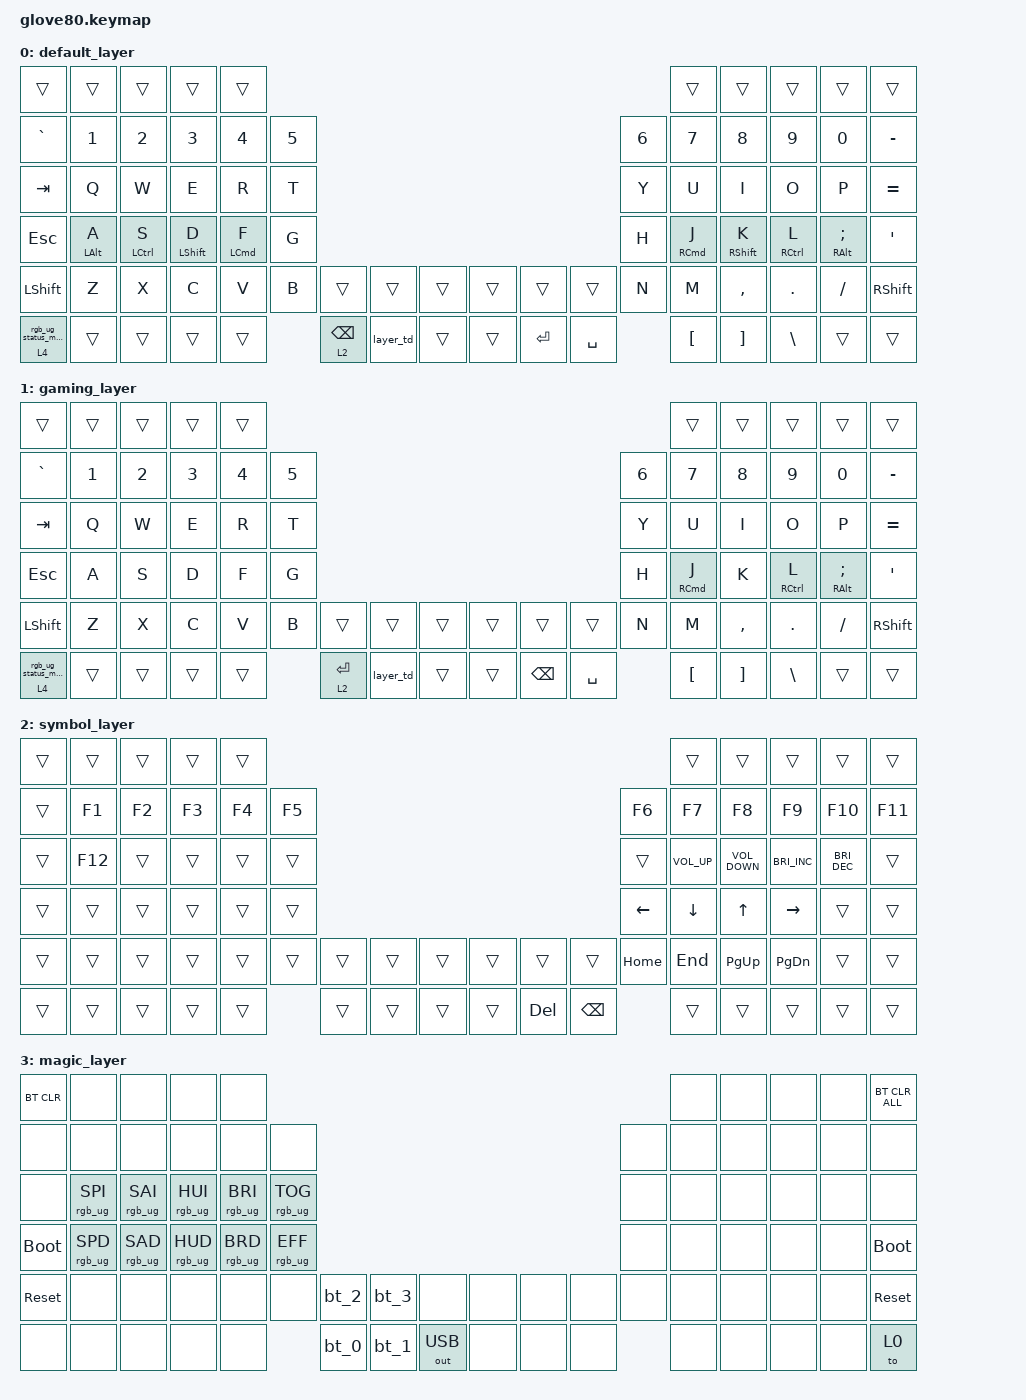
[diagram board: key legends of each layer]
/*
 * Copyright (c) 2020 The ZMK Contributors
 *
 * SPDX-License-Identifier: MIT
 */

#include <behaviors.dtsi>
#include <dt-bindings/zmk/bt.h>
#include <dt-bindings/zmk/keys.h>
#include <dt-bindings/zmk/outputs.h>
#include <dt-bindings/zmk/rgb.h>

#define HYPER LC(LS(LG(LALT)))

// layers

#define DEFAULT 0
#define LOWER 1
#define MAGIC 2
#define FACTORY_TEST 3

/ {
    behaviors {
        // For the "layer" key, it'd nice to be able to use it as either a shift or a toggle.
        // Configure it as a tap dance, so the first tap (or hold) is a &mo and the second tap is a &to

        layer_td: tap_dance_0 {
            compatible = "zmk,behavior-tap-dance";
            label = "LAYER_TAP_DANCE";
            #binding-cells = <0>;
            tapping-term-ms = <200>;
            bindings = <&to 0>, <&to 0>;
        };

        magic: magic_hold_tap {
            compatible = "zmk,behavior-hold-tap";
            label = "MAGIC_HOLD_TAP";
            #binding-cells = <2>;
            flavor = "tap-preferred";
            tapping-term-ms = <200>;
            bindings = <&mo>, <&rgb_ug_status_macro>;
        };

        hm_l: hm_l {
            compatible = "zmk,behavior-hold-tap";
            label = "HM_L";
            bindings = <&kp>, <&kp>;

            #binding-cells = <2>;
            tapping-term-ms = <280>;
            quick-tap-ms = <150>;
            require-prior-idle-ms = <150>;
            flavor = "balanced";
            hold-trigger-key-positions = <69 47 48 49 50 51 23 24 25 26 27 35 36 37 38 39 48 49 50 51 70 0 1 2 3 4 10 11 12 13 14 22 23 24 25 26 34 35 36 37 38 46 47 48 49 50 64 65 66 67 68 15 71 54 53 52>;
            hold-trigger-on-release;
        };

        hm_r: hm_r {
            compatible = "zmk,behavior-hold-tap";
            label = "HM_R";
            bindings = <&kp>, <&kp>;

            #binding-cells = <2>;
            tapping-term-ms = <280>;
            quick-tap-ms = <150>;
            require-prior-idle-ms = <150>;
            flavor = "balanced";
            hold-trigger-key-positions = <5 6 7 8 9 16 17 18 19 20 21 28 29 30 31 32 33 40 41 42 43 44 45 55 56 57 58 59 60 61 62 63 72 73 74 75 76 77 78 79>;
            hold-trigger-on-release;
        };
    };

    macros {
        rgb_ug_status_macro: rgb_ug_status_macro_0 {
            label = "RGB_UG_STATUS";
            compatible = "zmk,behavior-macro";
            #binding-cells = <0>;
            bindings = <&rgb_ug RGB_STATUS>;
        };

        bt_0: bt_profile_macro_0 {
            label = "BT_0";
            compatible = "zmk,behavior-macro";
            #binding-cells = <0>;
            bindings = <&out OUT_BLE &bt BT_SEL 0>;
        };

        bt_1: bt_profile_macro_1 {
            label = "BT_1";
            compatible = "zmk,behavior-macro";
            #binding-cells = <0>;
            bindings = <&out OUT_BLE &bt BT_SEL 1>;
        };

        bt_2: bt_profile_macro_2 {
            label = "BT_2";
            compatible = "zmk,behavior-macro";
            #binding-cells = <0>;
            bindings = <&out OUT_BLE &bt BT_SEL 2>;
        };

        bt_3: bt_profile_macro_3 {
            label = "BT_3";
            compatible = "zmk,behavior-macro";
            #binding-cells = <0>;
            bindings = <&out OUT_BLE &bt BT_SEL 3>;
        };
    };

    combos { compatible = "zmk,combos"; };

    keymap {
        compatible = "zmk,keymap";

        default_layer {
            // ---------------------------------------------------------------------------------------------------------------------------------
            // |  F1   |  F2 |  F3 |  F4  |  F5  |                                                               |  F6   |  F7   |  F8  |   F9  |  F10 |
            // |  =    |  1  |  2  |  3   |  4   |  5   |                                                 |  6   |   7   |   8   |  9   |   0   |   -  |
            // |  TAB  |  Q  |  W  |  E   |  R   |  T   |                                                 |  Y   |   U   |   I   |  O   |   P   |   \  |
            // |  ESC  |  A  |  S  |  D   |  F   |  G   |                                                 |  H   |   J   |   K   |  L   |   ;   |   '  |
            // |   `   |  Z  |  X  |  C   |  V   |  B   | LSHFT | LCTRL | LOWER | | LGUI  | RCTRL | RSHFT |  N   |   M   |   ,   |  .   |   /   | PGUP |
            // | MAGIC | HOME| END | LEFT | RIGHT|      | BSPC  | DEL   | LALT  | | RALT  | RET   | SPACE |      |  UP   | DOWN  |  [   |   ]   | PGDN |

            bindings = <
&trans          &trans            &trans                &trans              &trans                                                                                                        &trans                 &trans               &trans                 &trans                     &trans
&kp GRAVE       &kp NUMBER_1      &kp NUMBER_2          &kp NUMBER_3        &kp NUMBER_4          &kp N5                                                                    &kp NUMBER_6  &kp N7                 &kp N8               &kp N9                 &kp N0                     &kp MINUS
&kp TAB         &kp Q             &kp W                 &kp E               &kp R                 &kp T                                                                     &kp Y         &kp U                  &kp I                &kp O                  &kp P                      &kp EQUAL
&kp ESCAPE      &hm_r LEFT_ALT A  &hm_r LEFT_CONTROL S  &hm_r LEFT_SHIFT D  &hm_r LEFT_COMMAND F  &kp G                                                                     &kp H         &hm_l RIGHT_COMMAND J  &hm_l RIGHT_SHIFT K  &hm_l RIGHT_CONTROL L  &hm_l RIGHT_ALT SEMICOLON  &kp SINGLE_QUOTE
&kp LEFT_SHIFT  &kp Z             &kp X                 &kp C               &kp V                 &kp B   &trans           &trans     &trans  &trans  &trans     &trans     &kp N         &kp M                  &kp COMMA            &kp PERIOD             &kp SLASH                  &kp RIGHT_SHIFT
&magic 4 0      &trans            &trans                &trans              &trans                        &lt 2 BACKSPACE  &layer_td  &trans  &trans  &kp ENTER  &kp SPACE                &kp LEFT_BRACKET       &kp RIGHT_BRACKET    &kp BACKSLASH          &trans                     &trans
            >;
        };

        gaming_layer {
            bindings = <
&trans          &trans        &trans        &trans        &trans                                                                                                &trans                 &trans             &trans                 &trans                     &trans
&kp GRAVE       &kp NUMBER_1  &kp NUMBER_2  &kp NUMBER_3  &kp NUMBER_4  &kp N5                                                                    &kp NUMBER_6  &kp N7                 &kp N8             &kp N9                 &kp N0                     &kp MINUS
&kp TAB         &kp Q         &kp W         &kp E         &kp R         &kp T                                                                     &kp Y         &kp U                  &kp I              &kp O                  &kp P                      &kp EQUAL
&kp ESCAPE      &kp A         &kp S         &kp D         &kp F         &kp G                                                                     &kp H         &hm_l RIGHT_COMMAND J  &kp K              &hm_l RIGHT_CONTROL L  &hm_l RIGHT_ALT SEMICOLON  &kp SINGLE_QUOTE
&kp LEFT_SHIFT  &kp Z         &kp X         &kp C         &kp V         &kp B   &trans       &trans     &trans  &trans  &trans         &trans     &kp N         &kp M                  &kp COMMA          &kp PERIOD             &kp SLASH                  &kp RIGHT_SHIFT
&magic 4 0      &trans        &trans        &trans        &trans                &lt 2 ENTER  &layer_td  &trans  &trans  &kp BACKSPACE  &kp SPACE                &kp LEFT_BRACKET       &kp RIGHT_BRACKET  &kp BACKSLASH          &trans                     &trans
            >;
        };

        symbol_layer {
            bindings = <
&trans  &trans   &trans  &trans  &trans                                                                               &trans           &trans             &trans                &trans         &trans
&trans  &kp F1   &kp F2  &kp F3  &kp F4  &kp F5                                                             &kp F6    &kp F7           &kp F8             &kp F9                &kp F10        &kp F11
&trans  &kp F12  &trans  &trans  &trans  &trans                                                             &trans    &kp C_VOLUME_UP  &kp C_VOLUME_DOWN  &kp C_BRIGHTNESS_INC  &kp C_BRI_DEC  &trans
&trans  &trans   &trans  &trans  &trans  &trans                                                             &kp LEFT  &kp DOWN         &kp UP_ARROW       &kp RIGHT             &trans         &trans
&trans  &trans   &trans  &trans  &trans  &trans  &trans  &trans  &trans  &trans  &trans      &trans         &kp HOME  &kp END          &kp PAGE_UP        &kp PAGE_DOWN         &trans         &trans
&trans  &trans   &trans  &trans  &trans          &trans  &trans  &trans  &trans  &kp DELETE  &kp BACKSPACE            &trans           &trans             &trans                &trans         &trans
            >;
        };

        magic_layer {
            bindings = <
&bt BT_CLR   &none            &none            &none            &none                                                                                     &none  &none  &none  &none  &bt BT_CLR_ALL
&none        &none            &none            &none            &none            &none                                                             &none  &none  &none  &none  &none  &none
&none        &rgb_ug RGB_SPI  &rgb_ug RGB_SAI  &rgb_ug RGB_HUI  &rgb_ug RGB_BRI  &rgb_ug RGB_TOG                                                   &none  &none  &none  &none  &none  &none
&bootloader  &rgb_ug RGB_SPD  &rgb_ug RGB_SAD  &rgb_ug RGB_HUD  &rgb_ug RGB_BRD  &rgb_ug RGB_EFF                                                   &none  &none  &none  &none  &none  &bootloader
&sys_reset   &none            &none            &none            &none            &none            &bt_2  &bt_3  &none         &none  &none  &none  &none  &none  &none  &none  &none  &sys_reset
&none        &none            &none            &none            &none                             &bt_0  &bt_1  &out OUT_USB  &none  &none  &none         &none  &none  &none  &none  &to 0
            >;
        };
    };
};
